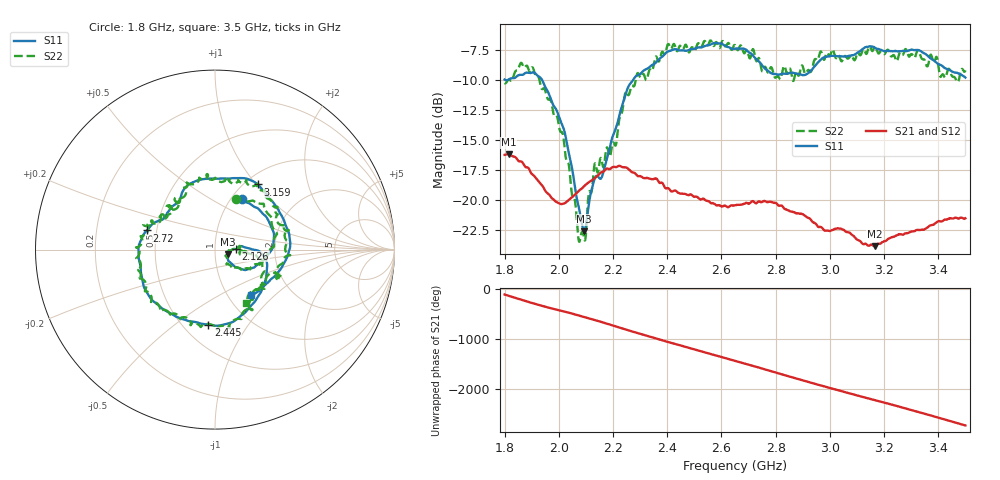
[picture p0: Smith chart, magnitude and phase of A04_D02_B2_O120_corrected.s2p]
! Created with skrf 1.9.0 (http://scikit-rf.org).
# Hz S RI R 50.0
!freq ReS11 ImS11 ReS21 ImS21 ReS12 ImS12 ReS22 ImS22
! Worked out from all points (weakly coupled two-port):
!   1601 points, 1.8 GHz to 3.5 GHz, reference 50 ohm
!   highest |S21| = -16.18 dB at 1.816 GHz (marker M1); lowest = -23.8 dB at 3.165 GHz (marker M2)
!   lowest |S11| = -22.6 dB at 2.093 GHz (marker M3), VSWR 1.16, Z = 57.5 - j2.86 ohm
!   |S11| at or under -10 dB: 1.803 GHz to 1.812 GHz (9.812 MHz wide, 0.543 % of centre); 1.938 GHz to 2.274 GHz (335.9 MHz wide, 15.9 % of centre)
!   |S22| runs from -23.4 to -6.7 dB; largest |S21 - S12| = 0.0025
!   S11 on the Smith chart (normalised r, x): 1.8 GHz: 1.12, +0.70; 2.126 GHz: 1.26, +0.01; 2.445 GHz: 0.66, -0.67; 2.72 GHz: 0.44, +0.11; 3.159 GHz: 1.14, +1.02; 3.5 GHz: 1.27, -0.72
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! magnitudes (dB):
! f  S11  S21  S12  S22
! 1.8 GHz  -10.0  -16.2  -16.2  -10.3
! 1.816 GHz  -10.0  -16.2  -16.2  -10.0
! 1.902 GHz  -9.4  -17.8  -17.8  -9.0
! 1.969 GHz  -11.5  -19.7  -19.7  -11.6
! 2.022 GHz  -14.4  -20.2  -20.2  -15.8
! 2.072 GHz  -20.4  -19.3  -19.3  -23.1
! 2.084 GHz  -21.8  -19.0  -19.0  -22.7
! 2.093 GHz  -22.6  -18.8  -18.9  -23.1
! 2.126 GHz  -18.7  -18.3  -18.3  -18.2
! 2.16 GHz  -18.0  -17.7  -17.6  -16.9
! 2.208 GHz  -14.2  -17.2  -17.2  -15.5
! 2.259 GHz  -10.4  -17.4  -17.4  -11.2
! 2.367 GHz  -8.3  -18.4  -18.4  -8.5
! 2.445 GHz  -7.5  -19.4  -19.4  -7.2
! 2.65 GHz  -7.4  -20.4  -20.4  -7.1
! 2.72 GHz  -8.1  -20.1  -20.0  -7.6
! 2.809 GHz  -9.6  -20.4  -20.3  -9.7
! 2.934 GHz  -9.2  -21.7  -21.7  -9.1
! 3.159 GHz  -7.2  -23.8  -23.7  -7.5
! 3.165 GHz  -7.3  -23.8  -23.8  -7.3
! 3.217 GHz  -7.6  -23.2  -23.1  -7.6
! 3.5 GHz  -9.8  -21.5  -21.5  -9.2
